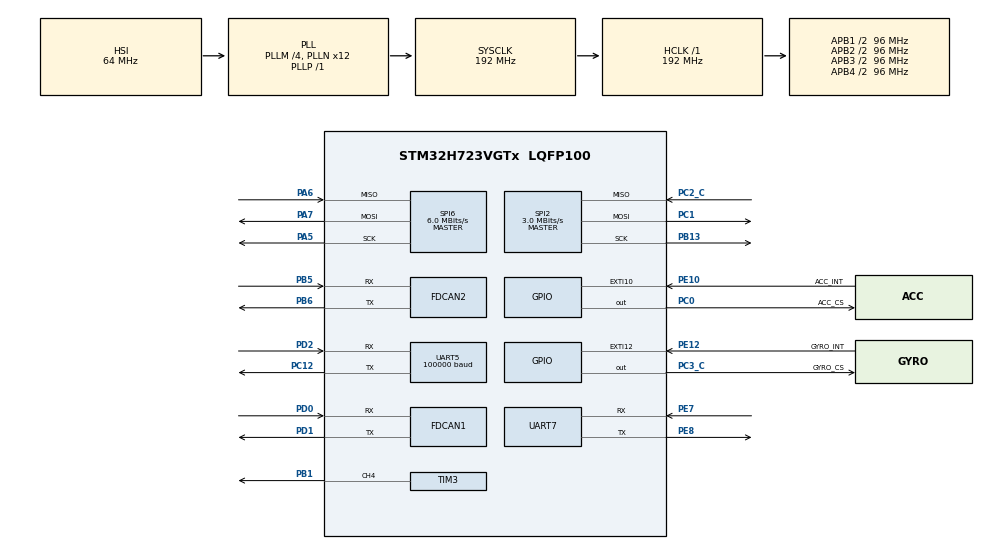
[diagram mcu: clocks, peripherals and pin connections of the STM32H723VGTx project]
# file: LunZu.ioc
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Bdma.Request0=SPI6_TX
Bdma.RequestsNb=1
Bdma.SPI6_TX.0.Direction=DMA_MEMORY_TO_PERIPH
Bdma.SPI6_TX.0.EventEnable=DISABLE
Bdma.SPI6_TX.0.Instance=BDMA_Channel0
Bdma.SPI6_TX.0.MemDataAlignment=DMA_MDATAALIGN_BYTE
Bdma.SPI6_TX.0.MemInc=DMA_MINC_ENABLE
Bdma.SPI6_TX.0.Mode=DMA_NORMAL
Bdma.SPI6_TX.0.PeriphDataAlignment=DMA_PDATAALIGN_BYTE
Bdma.SPI6_TX.0.PeriphInc=DMA_PINC_DISABLE
Bdma.SPI6_TX.0.Polarity=HAL_DMAMUX_REQ_GEN_RISING
Bdma.SPI6_TX.0.Priority=DMA_PRIORITY_LOW
Bdma.SPI6_TX.0.RequestNumber=1
Bdma.SPI6_TX.0.SignalID=NONE
Bdma.SPI6_TX.0.SyncEnable=DISABLE
Bdma.SPI6_TX.0.SyncPolarity=HAL_DMAMUX_SYNC_NO_EVENT
Bdma.SPI6_TX.0.SyncRequestNumber=1
Bdma.SPI6_TX.0.SyncSignalID=NONE
CORTEX_M7.default_mode_Activation=1
Dma.Request0=UART5_RX
Dma.Request1=SPI2_RX
Dma.Request2=SPI2_TX
Dma.SPI2_RX.1.Direction=DMA_PERIPH_TO_MEMORY
Dma.SPI2_RX.1.EventEnable=DISABLE
Dma.SPI2_RX.1.FIFOMode=DMA_FIFOMODE_DISABLE
Dma.SPI2_RX.1.Instance=DMA1_Stream1
Dma.SPI2_RX.1.MemDataAlignment=DMA_MDATAALIGN_BYTE
Dma.SPI2_RX.1.MemInc=DMA_MINC_ENABLE
Dma.SPI2_RX.1.Mode=DMA_NORMAL
Dma.SPI2_RX.1.PeriphDataAlignment=DMA_PDATAALIGN_BYTE
Dma.SPI2_RX.1.PeriphInc=DMA_PINC_DISABLE
Dma.SPI2_RX.1.Polarity=HAL_DMAMUX_REQ_GEN_RISING
Dma.SPI2_RX.1.Priority=DMA_PRIORITY_LOW
Dma.SPI2_RX.1.RequestNumber=1
Dma.SPI2_RX.1.SignalID=NONE
Dma.SPI2_RX.1.SyncEnable=DISABLE
Dma.SPI2_RX.1.SyncPolarity=HAL_DMAMUX_SYNC_NO_EVENT
Dma.SPI2_RX.1.SyncRequestNumber=1
Dma.SPI2_RX.1.SyncSignalID=NONE
Dma.SPI2_TX.2.Direction=DMA_MEMORY_TO_PERIPH
Dma.SPI2_TX.2.EventEnable=DISABLE
Dma.SPI2_TX.2.FIFOMode=DMA_FIFOMODE_DISABLE
Dma.SPI2_TX.2.Instance=DMA1_Stream2
Dma.SPI2_TX.2.MemDataAlignment=DMA_MDATAALIGN_BYTE
Dma.SPI2_TX.2.MemInc=DMA_MINC_ENABLE
Dma.SPI2_TX.2.Mode=DMA_NORMAL
Dma.SPI2_TX.2.PeriphDataAlignment=DMA_PDATAALIGN_BYTE
Dma.SPI2_TX.2.PeriphInc=DMA_PINC_DISABLE
Dma.SPI2_TX.2.Polarity=HAL_DMAMUX_REQ_GEN_RISING
Dma.SPI2_TX.2.Priority=DMA_PRIORITY_LOW
Dma.SPI2_TX.2.RequestNumber=1
Dma.SPI2_TX.2.SignalID=NONE
Dma.SPI2_TX.2.SyncEnable=DISABLE
Dma.SPI2_TX.2.SyncPolarity=HAL_DMAMUX_SYNC_NO_EVENT
Dma.SPI2_TX.2.SyncRequestNumber=1
Dma.SPI2_TX.2.SyncSignalID=NONE
Dma.UART5_RX.0.Direction=DMA_PERIPH_TO_MEMORY
Dma.UART5_RX.0.EventEnable=DISABLE
Dma.UART5_RX.0.FIFOMode=DMA_FIFOMODE_DISABLE
Dma.UART5_RX.0.Instance=DMA1_Stream0
Dma.UART5_RX.0.MemDataAlignment=DMA_MDATAALIGN_BYTE
Dma.UART5_RX.0.MemInc=DMA_MINC_ENABLE
Dma.UART5_RX.0.Mode=DMA_NORMAL
Dma.UART5_RX.0.PeriphDataAlignment=DMA_PDATAALIGN_BYTE
Dma.UART5_RX.0.PeriphInc=DMA_PINC_DISABLE
Dma.UART5_RX.0.Polarity=HAL_DMAMUX_REQ_GEN_RISING
Dma.UART5_RX.0.Priority=DMA_PRIORITY_LOW
Dma.UART5_RX.0.RequestNumber=1
Dma.UART5_RX.0.SignalID=NONE
Dma.UART5_RX.0.SyncEnable=DISABLE
Dma.UART5_RX.0.SyncPolarity=HAL_DMAMUX_SYNC_NO_EVENT
Dma.UART5_RX.0.SyncRequestNumber=1
Dma.UART5_RX.0.SyncSignalID=NONE
FDCAN1.AutoRetransmission=DISABLE
FDCAN1.CalculateBaudRateNominal=1000000
FDCAN1.CalculateTimeBitNominal=1000
FDCAN1.CalculateTimeQuantumNominal=31.25
FDCAN1.DataPrescaler=3
FDCAN1.DataSyncJumpWidth=10
FDCAN1.DataTimeSeg1=29
FDCAN1.DataTimeSeg2=10
FDCAN1.NominalPrescaler=3
FDCAN1.NominalTimeSeg1=21
FDCAN1.NominalTimeSeg2=10
FDCAN1.RxBuffersNbr=16
FDCAN1.RxFifo0ElmtSize=FDCAN_DATA_BYTES_24
FDCAN1.RxFifo0ElmtsNbr=32
FDCAN1.RxFifo1ElmtsNbr=16
FDCAN1.StdFiltersNbr=5
FDCAN1.TxFifoQueueElmtsNbr=32
FDCAN2.CalculateBaudRateNominal=1000000
FDCAN2.CalculateTimeBitNominal=1000
FDCAN2.CalculateTimeQuantumNominal=31.25
FDCAN2.NominalPrescaler=3
FDCAN2.NominalTimeSeg1=21
FDCAN2.NominalTimeSeg2=10
FREERTOS.Queues01=myQueue01,16,uint16_t,0,Dynamic,NULL,NULL
FREERTOS.Tasks01=defaultTask,24,256,StartDefaultTask,Default,NULL,Dynamic,NULL,NULL;imutask,40,512,imu_task,As weak,NULL,Dynamic,NULL,NULL;chassistask,24,512,chassis_task,As weak,NULL,Dynamic,NULL,NULL;rctask,25,256,rc_task,As weak,NULL,Dynamic,NULL,NULL
FREERTOS.configCHECK_FOR_STACK_OVERFLOW=2
FREERTOS.configMINIMAL_STACK_SIZE=256
FREERTOS.configTOTAL_HEAP_SIZE=51200
Mcu.Family=STM32H7
Mcu.Name=STM32H723VGTx
Mcu.Package=LQFP100
NVIC.BDMA_Channel0_IRQn=true\:5\:0\:false\:false\:true\:true\:false\:true\:true
NVIC.DMA1_Stream0_IRQn=true\:5\:0\:false\:false\:true\:true\:false\:true\:true
NVIC.DMA1_Stream1_IRQn=true\:5\:0\:false\:false\:true\:true\:false\:true\:true
NVIC.DMA1_Stream2_IRQn=true\:5\:0\:false\:false\:true\:true\:false\:true\:true
NVIC.FDCAN1_IT0_IRQn=true\:5\:0\:false\:false\:true\:true\:true\:true\:true
NVIC.PriorityGroup=NVIC_PRIORITYGROUP_4
NVIC.SPI2_IRQn=true\:5\:0\:false\:false\:true\:true\:false\:true\:true
NVIC.SPI6_IRQn=true\:5\:0\:false\:false\:true\:true\:true\:true\:true
NVIC.TIM6_DAC_IRQn=true\:15\:0\:false\:false\:true\:false\:false\:true\:true
NVIC.TimeBase=TIM6_DAC_IRQn
NVIC.TimeBaseIP=TIM6
NVIC.UART5_IRQn=true\:5\:0\:false\:false\:true\:true\:true\:true\:true
PA5.Mode=Full_Duplex_Master
PA5.Signal=SPI6_SCK
PA6.Mode=Full_Duplex_Master
PA6.Signal=SPI6_MISO
PA7.Mode=Full_Duplex_Master
PA7.Signal=SPI6_MOSI
PB1.Signal=S_TIM3_CH4
PB13.Mode=Full_Duplex_Master
PB13.Signal=SPI2_SCK
PB5.Mode=FDCAN_Activate
PB5.Signal=FDCAN2_RX
PB6.Mode=FDCAN_Activate
PB6.Signal=FDCAN2_TX
PC0.GPIO_Label=ACC_CS
PC0.GPIO_Speed=GPIO_SPEED_FREQ_VERY_HIGH
PC0.PinState=GPIO_PIN_SET
PC0.Signal=GPIO_Output
PC1.Mode=Full_Duplex_Master
PC1.Signal=SPI2_MOSI
PC12.Mode=Asynchronous
PC12.Signal=UART5_TX
PC2_C.Mode=Full_Duplex_Master
PC2_C.Signal=SPI2_MISO
PC3_C.GPIO_Label=GYRO_CS
PC3_C.GPIO_Speed=GPIO_SPEED_FREQ_VERY_HIGH
PC3_C.PinState=GPIO_PIN_SET
PC3_C.Signal=GPIO_Output
PD0.Mode=FDCAN_Activate
PD0.Signal=FDCAN1_RX
PD1.Mode=FDCAN_Activate
PD1.Signal=FDCAN1_TX
PD2.Mode=Asynchronous
PD2.Signal=UART5_RX
PE10.GPIO_Label=ACC_INT
PE10.Signal=GPXTI10
PE12.GPIO_Label=GYRO_INT
PE12.Signal=GPXTI12
PE7.Mode=Asynchronous
PE7.Signal=UART7_RX
PE8.Mode=Asynchronous
PE8.Signal=UART7_TX
PH0-OSC_IN.Mode=HSE-External-Oscillator
PH0-OSC_IN.Signal=RCC_OSC_IN
PH1-OSC_OUT.Mode=HSE-External-Oscillator
PH1-OSC_OUT.Signal=RCC_OSC_OUT
ProjectManager.HeapSize=0x200
ProjectManager.StackSize=0x400
ProjectManager.TargetToolchain=MDK-ARM V5.32
RCC.ADCFreq_Value=129000000
RCC.APB1Freq_Value=96000000
RCC.APB2Freq_Value=96000000
RCC.APB3Freq_Value=96000000
RCC.APB4Freq_Value=96000000
RCC.CortexFreq_Value=192000000
RCC.D1PPRE=RCC_APB3_DIV2
RCC.D2PPRE1=RCC_APB1_DIV2
RCC.D2PPRE2=RCC_APB2_DIV2
RCC.D3PPRE=RCC_APB4_DIV2
RCC.DIVM1=4
RCC.DIVN1=12
RCC.DIVP1=1
RCC.HCLKFreq_Value=192000000
RCC.PLL2FRACN=0
RCC.PLL3FRACN=0
RCC.PLLFRACN=0
RCC.SYSCLKFreq_VALUE=192000000
RCC.SYSCLKSource=RCC_SYSCLKSOURCE_PLLCLK
RCC.USBFreq_Value=96000000
SH.S_TIM3_CH4.0=TIM3_CH4,PWM Generation4 CH4
SPI2.BaudRatePrescaler=SPI_BAUDRATEPRESCALER_32
SPI2.CLKPhase=SPI_PHASE_2EDGE
SPI2.CLKPolarity=SPI_POLARITY_HIGH
SPI2.CalculateBaudRate=3.0 MBits/s
SPI2.DataSize=SPI_DATASIZE_8BIT
SPI2.Direction=SPI_DIRECTION_2LINES
SPI2.Mode=SPI_MODE_MASTER
SPI2.VirtualType=VM_MASTER
SPI6.BaudRatePrescaler=SPI_BAUDRATEPRESCALER_16
SPI6.CLKPhase=SPI_PHASE_2EDGE
SPI6.CalculateBaudRate=6.0 MBits/s
SPI6.DataSize=SPI_DATASIZE_8BIT
SPI6.Direction=SPI_DIRECTION_2LINES
SPI6.Mode=SPI_MODE_MASTER
SPI6.VirtualType=VM_MASTER
TIM3.Channel-PWM\ Generation4\ CH4=TIM_CHANNEL_4
TIM3.Period=49
TIM3.Prescaler=95
UART5.BaudRate=100000
UART5.Parity=PARITY_EVEN
UART5.WordLength=WORDLENGTH_9B
VP_FREERTOS_VS_CMSIS_V2.Mode=CMSIS_V2
VP_MEMORYMAP_VS_MEMORYMAP.Mode=CurAppReg
VP_SYS_VS_tim6.Mode=TIM6
board=custom

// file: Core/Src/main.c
/* USER CODE BEGIN Header */
/**
  ******************************************************************************
  * @file           : main.c
  * @brief          : Main program body
  ******************************************************************************
  * @attention
  *
  * Copyright (c) 2026 STMicroelectronics.
  * All rights reserved.
  *
  * This software is licensed under terms that can be found in the LICENSE file
  * in the root directory of this software component.
  * If no LICENSE file comes with this software, it is provided AS-IS.
  *
  ******************************************************************************
  */
/* USER CODE END Header */
#include "main.h"
#include "FreeRTOS.h"
#include "cmsis_os2.h"
#include "bdma.h"
#include "dma.h"
#include "fdcan.h"
#include "spi.h"
#include "tim.h"
#include "usart.h"
#include "gpio.h"

/* USER CODE BEGIN PV */
/* IMU ��ʼ������ֵ��0x00=�ɹ� 0xFF=оƬ����Ӧ 0x01~0x07=ĳ�����ûض�ʧ�� */
volatile uint8_t imu_err = 0;
/* USER CODE END PV */

void SystemClock_Config(void);
static void MPU_Config(void);
void MX_FREERTOS_Init(void);

int main(void)
{

  /* MPU Configuration--------------------------------------------------------*/
  MPU_Config();

  /* MCU Configuration--------------------------------------------------------*/

  /* Reset of all peripherals, Initializes the Flash interface and the Systick. */
  HAL_Init();

  /* Configure the system clock */
  SystemClock_Config();

  /* Initialize all configured peripherals */
  MX_GPIO_Init();
  MX_DMA_Init();
  MX_BDMA_Init();
  MX_FDCAN1_Init();
  MX_FDCAN2_Init();
  MX_UART7_Init();
  MX_SPI2_Init();
  MX_SPI6_Init();
  MX_UART5_Init();
  MX_TIM3_Init();
  /* USER CODE BEGIN 2 */

	RC_Init();

	IMU_Init();

	BSP_FDCAN_Init();

	HAL_Delay(4000);

	DM_Motor_Disable(1, 1);
	HAL_Delay(100);
	DM_Motor_Disable(1, 2);
	HAL_Delay(100);
	DM_Motor_Disable(1, 3);
	HAL_Delay(100);
	DM_Motor_Disable(1, 4);

  /* USER CODE END 2 */

  /* Init scheduler */
  osKernelInitialize();  /* Call init function for freertos objects (in cmsis_os2.c) */
  MX_FREERTOS_Init();

  /* Start scheduler */
  osKernelStart();

  /* We should never get here as control is now taken by the scheduler */

  /* Infinite loop */
  while (1)
  {

  }
}

void SystemClock_Config(void)
{
  RCC_OscInitTypeDef RCC_OscInitStruct = {0};
  RCC_ClkInitTypeDef RCC_ClkInitStruct = {0};

  /** Supply configuration update enable
  */
  HAL_PWREx_ConfigSupply(PWR_LDO_SUPPLY);

  /** Configure the main internal regulator output voltage
  */
  __HAL_PWR_VOLTAGESCALING_CONFIG(PWR_REGULATOR_VOLTAGE_SCALE1);

  while(!__HAL_PWR_GET_FLAG(PWR_FLAG_VOSRDY)) {}

  /** Initializes the RCC Oscillators according to the specified parameters
  * in the RCC_OscInitTypeDef structure.
  */
  RCC_OscInitStruct.OscillatorType = RCC_OSCILLATORTYPE_HSI;
  RCC_OscInitStruct.HSIState = RCC_HSI_DIV1;
  RCC_OscInitStruct.HSICalibrationValue = 64;
  RCC_OscInitStruct.PLL.PLLState = RCC_PLL_ON;
  RCC_OscInitStruct.PLL.PLLSource = RCC_PLLSOURCE_HSI;
  RCC_OscInitStruct.PLL.PLLM = 4;
  RCC_OscInitStruct.PLL.PLLN = 12;
  RCC_OscInitStruct.PLL.PLLP = 1;
  RCC_OscInitStruct.PLL.PLLQ = 2;
  RCC_OscInitStruct.PLL.PLLR = 2;
  RCC_OscInitStruct.PLL.PLLRGE = RCC_PLL1VCIRANGE_3;
  RCC_OscInitStruct.PLL.PLLVCOSEL = RCC_PLL1VCOWIDE;
  RCC_OscInitStruct.PLL.PLLFRACN = 0;
  if (HAL_RCC_OscConfig(&RCC_OscInitStruct) != HAL_OK)
  {
    Error_Handler();
  }

  /** Initializes the CPU, AHB and APB buses clocks
  */
  RCC_ClkInitStruct.ClockType = RCC_CLOCKTYPE_HCLK|RCC_CLOCKTYPE_SYSCLK
                              |RCC_CLOCKTYPE_PCLK1|RCC_CLOCKTYPE_PCLK2
                              |RCC_CLOCKTYPE_D3PCLK1|RCC_CLOCKTYPE_D1PCLK1;
  RCC_ClkInitStruct.SYSCLKSource = RCC_SYSCLKSOURCE_PLLCLK;
  RCC_ClkInitStruct.SYSCLKDivider = RCC_SYSCLK_DIV1;
  RCC_ClkInitStruct.AHBCLKDivider = RCC_HCLK_DIV1;
  RCC_ClkInitStruct.APB3CLKDivider = RCC_APB3_DIV2;
  RCC_ClkInitStruct.APB1CLKDivider = RCC_APB1_DIV2;
  RCC_ClkInitStruct.APB2CLKDivider = RCC_APB2_DIV2;
  RCC_ClkInitStruct.APB4CLKDivider = RCC_APB4_DIV2;

  if (HAL_RCC_ClockConfig(&RCC_ClkInitStruct, FLASH_LATENCY_2) != HAL_OK)
  {
    Error_Handler();
  }
}

 /* MPU Configuration */

void MPU_Config(void)
{
  MPU_Region_InitTypeDef MPU_InitStruct = {0};

  /* Disables the MPU */
  HAL_MPU_Disable();

  /** Initializes and configures the Region and the memory to be protected
  */
  MPU_InitStruct.Enable = MPU_REGION_ENABLE;
  MPU_InitStruct.Number = MPU_REGION_NUMBER0;
  MPU_InitStruct.BaseAddress = 0x0;
  MPU_InitStruct.Size = MPU_REGION_SIZE_4GB;
  MPU_InitStruct.SubRegionDisable = 0x87;
  MPU_InitStruct.TypeExtField = MPU_TEX_LEVEL0;
  MPU_InitStruct.AccessPermission = MPU_REGION_NO_ACCESS;
  MPU_InitStruct.DisableExec = MPU_INSTRUCTION_ACCESS_DISABLE;
  MPU_InitStruct.IsShareable = MPU_ACCESS_SHAREABLE;
  MPU_InitStruct.IsCacheable = MPU_ACCESS_NOT_CACHEABLE;
  MPU_InitStruct.IsBufferable = MPU_ACCESS_NOT_BUFFERABLE;

  HAL_MPU_ConfigRegion(&MPU_InitStruct);
  /* Enables the MPU */
  HAL_MPU_Enable(MPU_PRIVILEGED_DEFAULT);

}

void HAL_TIM_PeriodElapsedCallback(TIM_HandleTypeDef *htim)
{
  if (htim->Instance == TIM6)
  {
    HAL_IncTick();
  }
}

void Error_Handler(void)
{
  __disable_irq();
  while (1)
  {
  }
}

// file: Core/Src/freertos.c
/* USER CODE BEGIN Header */
/**
  ******************************************************************************
  * File Name          : freertos.c
  * Description        : Code for freertos applications
  ******************************************************************************
  * @attention
  *
  * Copyright (c) 2026 STMicroelectronics.
  * All rights reserved.
  *
  * This software is licensed under terms that can be found in the LICENSE file
  * in the root directory of this software component.
  * If no LICENSE file comes with this software, it is provided AS-IS.
  *
  ******************************************************************************
  */
/* USER CODE END Header */

#include "FreeRTOS.h"
#include "task.h"
#include "main.h"
#include "FreeRTOS.h"
#include "cmsis_os2.h"

/* USER CODE BEGIN PM */
QueueHandle_t RC_queue;

QueueHandle_t imu_to_chasis_queue;

QueueHandle_t leg_long_queue;
/* USER CODE END PM */

/* Definitions for defaultTask */
osThreadId_t defaultTaskHandle;
const osThreadAttr_t defaultTask_attributes = {
  .name = "defaultTask",
  .stack_size = 256 * 4,
  .priority = (osPriority_t) osPriorityNormal,
};
/* Definitions for imutask */
osThreadId_t imutaskHandle;
const osThreadAttr_t imutask_attributes = {
  .name = "imutask",
  .stack_size = 512 * 4,
  .priority = (osPriority_t) osPriorityHigh,
};
/* Definitions for chassistask */
osThreadId_t chassistaskHandle;
const osThreadAttr_t chassistask_attributes = {
  .name = "chassistask",
  .stack_size = 512 * 4,
  .priority = (osPriority_t) osPriorityNormal,
};
/* Definitions for rctask */
osThreadId_t rctaskHandle;
const osThreadAttr_t rctask_attributes = {
  .name = "rctask",
  .stack_size = 256 * 4,
  .priority = (osPriority_t) osPriorityNormal1,
};
/* Definitions for myQueue01 */
osMessageQueueId_t myQueue01Handle;
const osMessageQueueAttr_t myQueue01_attributes = {
  .name = "myQueue01"
};

void StartDefaultTask(void *argument);
void imu_task(void *argument);
void chassis_task(void *argument);
void rc_task(void *argument);

void MX_FREERTOS_Init(void); /* (MISRA C 2004 rule 8.1) */

/* Hook prototypes */
void vApplicationStackOverflowHook(xTaskHandle xTask, char *pcTaskName);

/* USER CODE BEGIN 4 */
void vApplicationStackOverflowHook(xTaskHandle xTask, char *pcTaskName)
{
   /* Run time stack overflow checking is performed if
   configCHECK_FOR_STACK_OVERFLOW is defined to 1 or 2. This hook function is
   called if a stack overflow is detected. */
}
/* USER CODE END 4 */

void MX_FREERTOS_Init(void) {

  /* Create the queue(s) */
  /* creation of myQueue01 */
  myQueue01Handle = osMessageQueueNew (16, sizeof(uint16_t), &myQueue01_attributes);

  /* USER CODE BEGIN RTOS_QUEUES */
  /* add queues, ... */
	/* ���1+��д��ֻ��������һ֡������ƽ�⻷����������̬ */
	RC_queue=xQueueCreate(1,sizeof(Remote_Control_TypeDef));

	imu_to_chasis_queue=xQueueCreate(1,sizeof(IMU_EulerAngles_TypeDef));

	leg_long_queue=xQueueCreate(1,sizeof(float));

  /* USER CODE END RTOS_QUEUES */

  /* Create the thread(s) */
  /* creation of defaultTask */
  defaultTaskHandle = osThreadNew(StartDefaultTask, NULL, &defaultTask_attributes);

  /* creation of imutask */
  imutaskHandle = osThreadNew(imu_task, NULL, &imutask_attributes);

  /* creation of chassistask */
  chassistaskHandle = osThreadNew(chassis_task, NULL, &chassistask_attributes);

  /* creation of rctask */
  rctaskHandle = osThreadNew(rc_task, NULL, &rctask_attributes);

}

void StartDefaultTask(void *argument)
{
  for(;;)
  {
    osDelay(1);
  }
}

/* USER CODE BEGIN Header_imu_task */
///**
//* @brief Function implementing the imutask thread.
//* @param argument: Not used
//* @retval None
//*/
/* USER CODE END Header_imu_task */
__weak void imu_task(void *argument)
{
  /* USER CODE BEGIN imu_task */
////////////////////  /* Infinite loop */
////////////////////  for(;;)
////////////////////  {
////////////////////    osDelay(1);
////////////////////  }
  /* USER CODE END imu_task */
}

/* USER CODE BEGIN Header_chassis_task */
/////////////////////**
////////////////////* @brief Function implementing the chassistask thread.
////////////////////* @param argument: Not used
////////////////////* @retval None
////////////////////*/
/* USER CODE END Header_chassis_task */
__weak void chassis_task(void *argument)
{
  /* USER CODE BEGIN chassis_task */
////////////////////  /* Infinite loop */
////////////////////  for(;;)
////////////////////  {
////////////////////    osDelay(1);
////////////////////  }
  /* USER CODE END chassis_task */
}

/* USER CODE BEGIN Header_rc_task */
///////**
//////* @brief Function implementing the rctask thread.
//////* @param argument: Not used
//////* @retval None
//////*/
/* USER CODE END Header_rc_task */
__weak void rc_task(void *argument)
{
  for(;;)
  {
    osDelay(1);
  }
}
